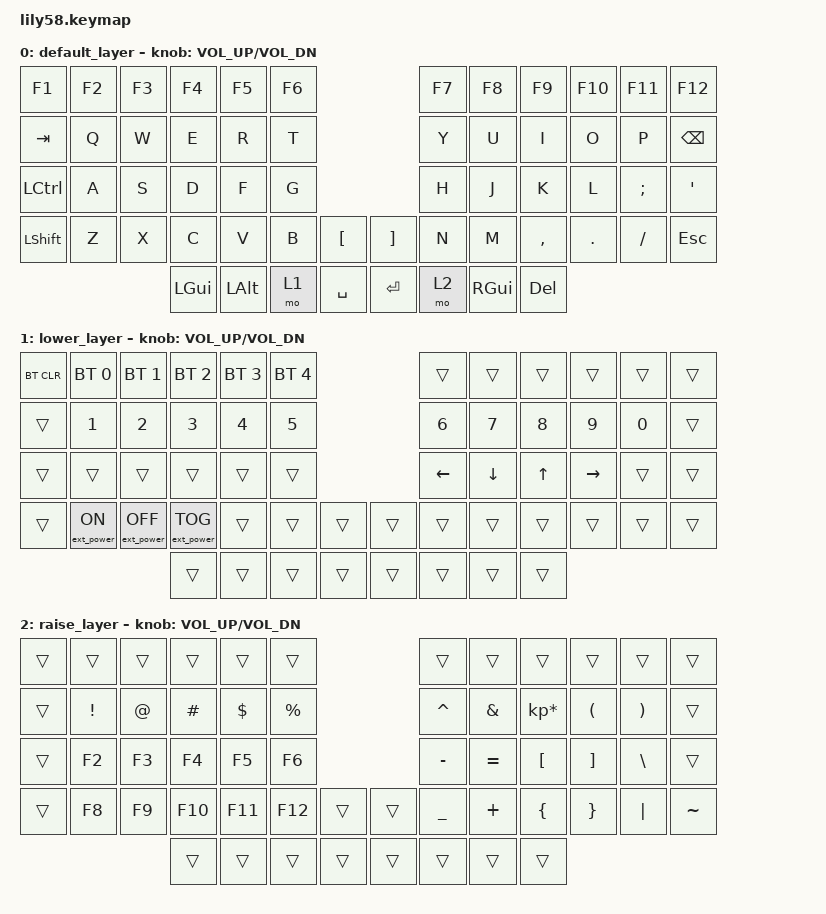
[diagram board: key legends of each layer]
/*
 * Copyright (c) 2020 The ZMK Contributors
 *
 * SPDX-License-Identifier: MIT
 */

#include <behaviors.dtsi>
#include <dt-bindings/zmk/keys.h>
#include <dt-bindings/zmk/bt.h>
#include <dt-bindings/zmk/ext_power.h>


/ {
    keymap {
        compatible = "zmk,keymap";

        default_layer {
// ------------------------------------------------------------------------------------------------------------
// |  F1   |  F2 |  F3 |  F4  |  F5  |  F6  |                   |  F7  |  F8   |  F9   |  F10 |  F11  | F12   |
// |  TAB  |  Q  |  W  |  E   |  R   |  T   |                   |  Y   |  U    |  I    |  O   |   P   | BSPC  |
// |  CTRL |  A  |  S  |  D   |  F   |  G   |                   |  H   |  J    |  K    |  L   |   ;   |   '   |
// | SHIFT |  Z  |  X  |  C   |  V   |  B   |   "["  |  |  "]"  |  N   |  M    |  ,    |  .   |   /   | ESC   |
//                     | ALT  | GUI  | LOWER|  SPACE |  | ENTER | RAISE| GUI   | DEL   |
            bindings = <
&kp F1    &kp F2 &kp F3 &kp F4   &kp F5   &kp F6                     &kp F7 &kp F8   &kp F9    &kp F10  &kp F11  &kp F12
&kp TAB   &kp Q  &kp W  &kp E    &kp R    &kp T                      &kp Y  &kp U    &kp I     &kp O    &kp P    &kp BSPC
&kp LCTRL &kp A  &kp S  &kp D    &kp F    &kp G                      &kp H  &kp J    &kp K     &kp L    &kp SEMI &kp SQT
&kp LSHFT &kp Z  &kp X  &kp C    &kp V    &kp B  &kp LBKT   &kp RBKT &kp N  &kp M    &kp COMMA &kp DOT  &kp FSLH &kp ESC
                        &kp LGUI &kp LALT &mo 1  &kp SPACE  &kp RET  &mo 2  &kp RGUI &kp DEL
            >;

            sensor-bindings = <&inc_dec_kp C_VOL_UP C_VOL_DN>;
        };


        lower_layer {
// ------------------------------------------------------------------------------------------------------------
// | BTCLR | BT1 | BT2 |  BT3 |  BT4 |  BT5 |                   |      |       |       |      |       |       |
// |       |  1  |  2  |  3   |  4   |  5   |                   |  6   |  7    |  8    |  9   |   10  |       |
// |       |     |     |      |      |      |                   |  <-  |   v   |  ^    |  ->  |       |       |
// |       |     |     |      |      |      |        |  |       |      |       |       |      |       |       |
//                     |      |      |      |        |  |       |      |       |       |
            bindings = <
&bt BT_CLR &bt BT_SEL 0 &bt BT_SEL 1      &bt BT_SEL 2      &bt BT_SEL 3 &bt BT_SEL 4                    &trans    &trans    &trans &trans     &trans    &trans
&trans     &kp N1       &kp N2            &kp N3            &kp N4       &kp N5                              &kp N6    &kp N7    &kp N8 &kp N9     &kp N0   &trans
&trans     &trans       &trans            &trans            &trans       &trans                              &kp LEFT  &kp DOWN  &kp UP &kp RIGHT  &trans   &trans
&trans     &ext_power EP_ON &ext_power EP_OFF &ext_power EP_TOG &trans       &trans    &trans   &trans    &trans    &trans    &trans     &trans  &trans  &trans
                                              &trans            &trans       &trans    &trans   &trans    &trans    &trans    &trans
            >;

            sensor-bindings = <&inc_dec_kp C_VOL_UP C_VOL_DN>;
        };

        raise_layer {
// ------------------------------------------------------------------------------------------------------------
// |       |     |     |      |      |      |                   |      |       |       |      |       |       |
// |       |  !  |  @  |  #   |  $   |  %   |                   |  ^   |   &   |   *   |  (   |   )   |       |
// |   F1  |  F2 |  F3 |  F4  |  F5  |  F6  |                   |  -   |   =   |   [   |  ]   |   \   |       |
// |   F7  |  F8 |  F9 |  F10 |  F11 |  F12 |        |  |       |  _   |   +   |   {   |  }   |  "|"  |       |
//                     |      |      |      |        |  |       |      |       |       |
            bindings = <
&trans &trans   &trans &trans   &trans   &trans                  &trans      &trans    &trans          &trans   &trans   &trans
&trans &kp EXCL &kp AT &kp HASH &kp DLLR &kp PRCNT               &kp CARET   &kp AMPS  &kp KP_MULTIPLY &kp LPAR &kp RPAR &trans
&trans &kp F2   &kp F3 &kp F4   &kp F5   &kp F6                  &kp MINUS   &kp EQUAL &kp LBKT        &kp RBKT &kp BSLH &trans
&trans &kp F8   &kp F9 &kp F10  &kp F11  &kp F12   &trans &trans &kp UNDER   &kp PLUS  &kp LBRC        &kp RBRC &kp PIPE &kp TILDE
                &trans &trans   &trans   &trans    &trans &trans &trans      &trans
            >;

            sensor-bindings = <&inc_dec_kp C_VOL_UP C_VOL_DN>;
        };
    };
};
